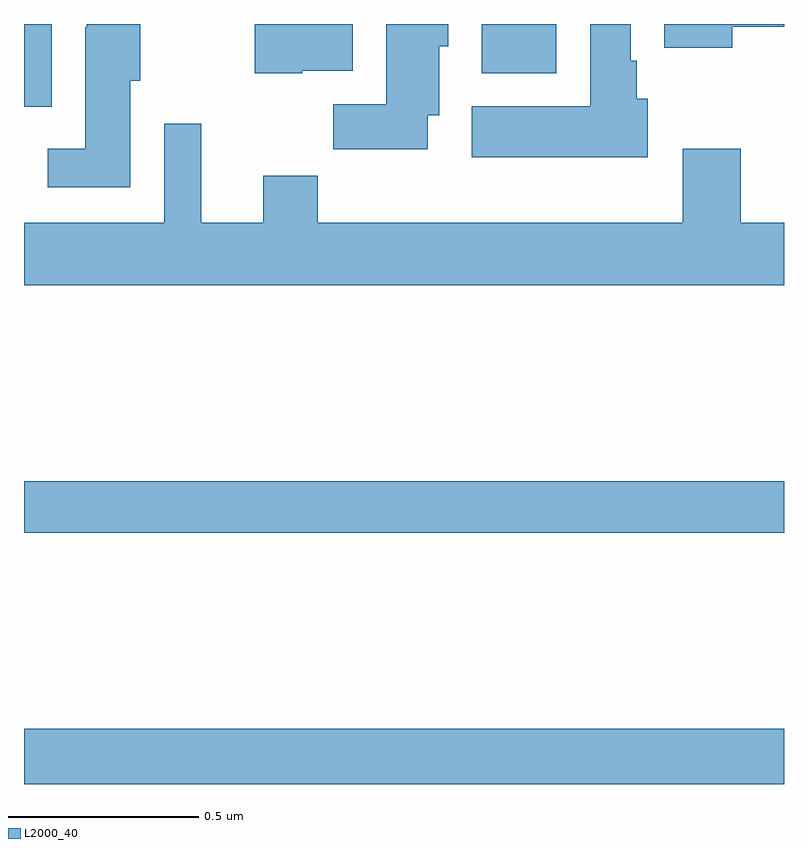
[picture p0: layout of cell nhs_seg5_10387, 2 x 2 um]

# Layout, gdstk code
import gdstk
lib = gdstk.Library(unit=1e-6, precision=1e-09)
def R(c, l, rs):  # rectangles x0, y0, x1, y1
    for r in rs: c.add(gdstk.rectangle(r[:2], r[2:], *l))
def P(c, l, *ps):  # polygons
    for p in ps: c.add(gdstk.Polygon(p, *l))
L2000_40 = (2000, 40)

nhs_seg5_10387 = lib.new_cell('nhs_seg5_10387')
R(nhs_seg5_10387, L2000_40, [(246,836.799,248,836.944), (246,837.46,248,837.596), (246,838.581,246.073,838.799), (247.205,838.67,247.401,838.799)])
P(nhs_seg5_10387, L2000_40, [(246.28,838.65),(246.306,838.65),(246.306,838.799),(246.165,838.799),(246.165,838.79),(246.161,838.79),(246.161,838.471),(246.063,838.471),(246.063,838.37),(246.28,838.37)],
  [(246.732,838.676),(246.865,838.676),(246.865,838.799),(246.607,838.799),(246.607,838.67),(246.732,838.67)],
  [(247.063,838.559),(247.093,838.559),(247.093,838.74),(247.117,838.74),(247.117,838.799),(246.953,838.799),(246.953,838.588),(246.814,838.588),(246.814,838.47),(247.063,838.47)],
  [(247.864,838.792),(248,838.792),(248,838.799),(247.685,838.799),(247.685,838.736),(247.864,838.736)],
  [(247.642,838.602),(247.612,838.602),(247.612,838.702),(247.597,838.702),(247.597,838.799),(247.49,838.799),(247.49,838.582),(247.178,838.582),(247.178,838.448),(247.642,838.448)],
  [(248,838.276),(247.886,838.276),(247.886,838.471),(247.733,838.471),(247.733,838.276),(246.773,838.276),(246.773,838.4),(246.629,838.4),(246.629,838.276),(246.466,838.276),(246.466,838.537),(246.369,838.537),(246.369,838.276),(246,838.276),(246,838.112),(248,838.112)])

lib.write_gds('nhs_seg5_10387.gds')
